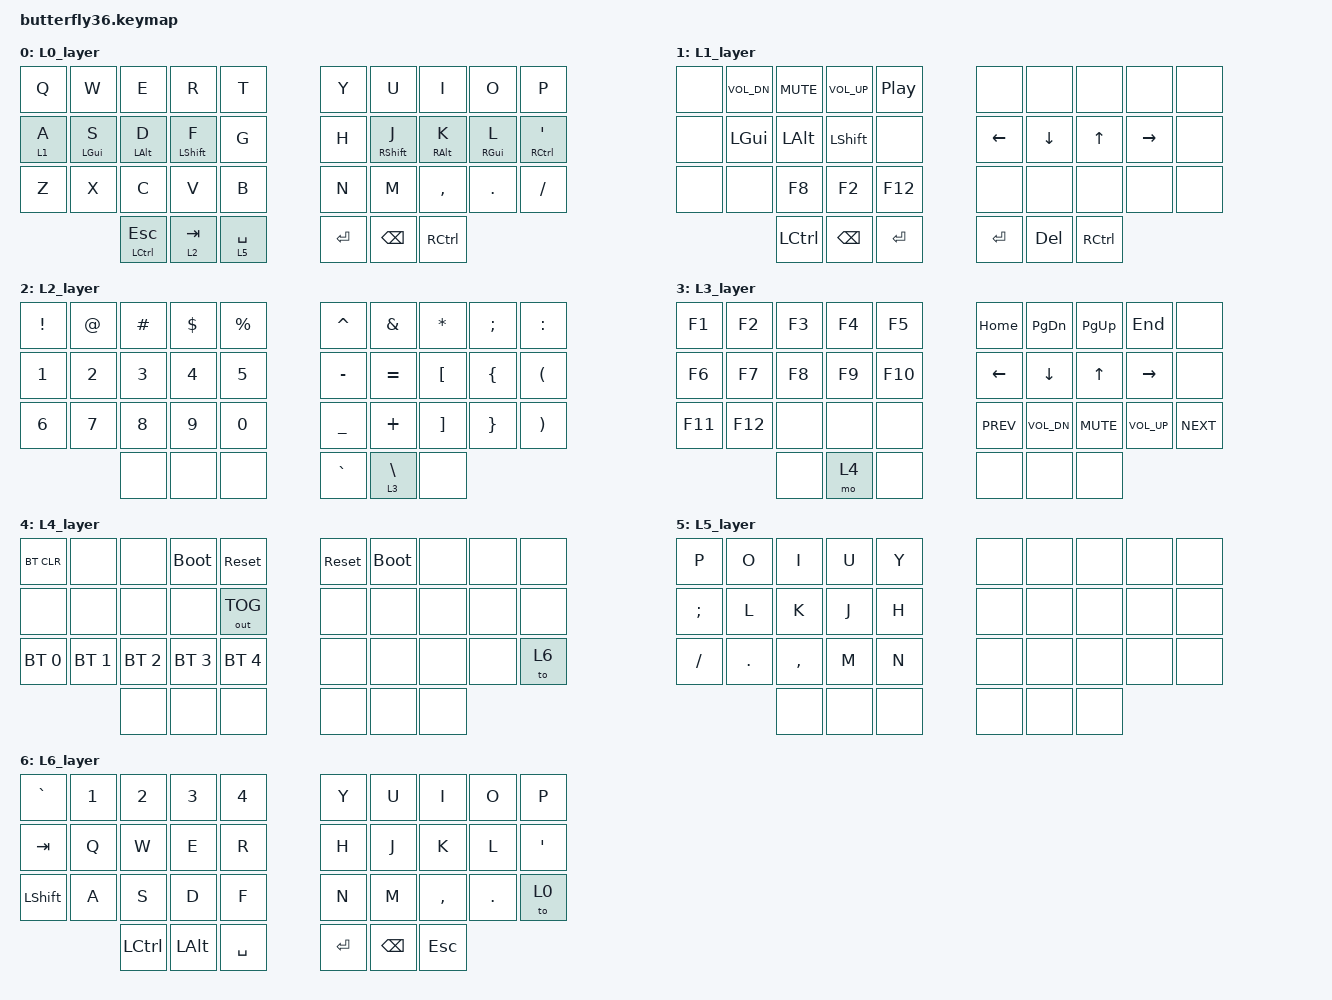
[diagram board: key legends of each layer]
// butterfly36.keymap

#include <behaviors.dtsi>
#include <dt-bindings/zmk/keys.h>
#include <dt-bindings/zmk/bt.h>
#include <dt-bindings/zmk/outputs.h>

&mt {
  flavor = "hold-preferred";
  tapping-term-ms = <175>;
  quick-tap-ms = <175>;
  // retro-tap;
};

&lt {  // layer-tap config
  flavor = "hold-preferred";
  tapping-term-ms = <175>;
  quick-tap-ms = <175>;
  // retro-tap;
};

/ {
  behaviors {
    bmt: balanced_mod_tap {
      compatible = "zmk,behavior-hold-tap";
      #binding-cells = <2>;
      flavor = "balanced";
      tapping-term-ms = <200>;    // <---[[moderate duration]]
      quick-tap-ms = <200>;
      bindings = <&kp>, <&kp>;
    };

    blt: balanced_layer_tap {
      compatible = "zmk,behavior-hold-tap";
      #binding-cells = <2>;
      flavor = "balanced";
      tapping-term-ms = <200>;    // <---[[moderate duration]]
      quick-tap-ms = <200>;
      bindings = <&mo>, <&kp>;
    };

    tmt: tap_preferred_mod_tap {
      compatible = "zmk,behavior-hold-tap";
      #binding-cells = <2>;
      flavor = "tap-preferred";
      //retro-tap;
      tapping-term-ms = <175>;    // <---[[moderate duration]]
      quick-tap-ms = <175>;
      require-prior-idle-ms = <125>;
      bindings = <&kp>, <&kp>;
    };

    tlt: tap_preferred_layer_tap {
      compatible = "zmk,behavior-hold-tap";
      #binding-cells = <2>;
      flavor = "tap-preferred";
      //retro-tap;
      tapping-term-ms = <175>;    // <---[[moderate duration]]
      quick-tap-ms = <175>;
      require-prior-idle-ms = <125>;
      bindings = <&mo>, <&kp>;
    };
  };

  keymap {
    compatible = "zmk,keymap";

    L0_layer {
      bindings = <
        &kp Q     &kp W         &kp E         &kp R         &kp T           &kp Y     &kp U         &kp I         &kp O          &kp P
        &tlt 1 A  &tmt LGUI S   &tmt LALT D   &tmt LSHFT F  &kp G           &kp H     &tmt RSHFT J  &tmt RALT K   &tmt RGUI L    &tmt RCTRL SQT
        &kp Z     &kp X         &kp C         &kp V         &kp B           &kp N     &kp M         &kp COMMA     &kp DOT        &kp FSLH
                                &mt LCTRL ESC &lt 2 TAB     &lt 5 SPACE     &kp RET   &kp BSPC      &kp RCTRL
      >;
    };
    
    L1_layer {
      bindings = <
        &none     &kp C_VOL_DN  &kp C_MUTE    &kp C_VOL_UP  &kp C_PP        &none       &none       &none      &none       &none
        &none     &kp LGUI      &kp LALT      &kp LSHFT     &none           &kp LEFT    &kp DOWN    &kp UP     &kp RIGHT   &none
        &none     &none         &kp F8        &kp F2        &kp F12         &none       &none       &none      &none       &none
                                &kp LCTRL     &kp BSPC      &kp RET         &kp RET     &kp DEL    &kp RCTRL
      >;
    };

    L2_layer {
      bindings = <
        &kp EXCL  &kp AT    &kp HASH    &kp DLLR    &kp PRCNT       &kp CARET   &kp AMPS    &kp STAR    &kp SEMI  &kp COLON
        &kp N1    &kp N2    &kp N3      &kp N4      &kp N5          &kp MINUS   &kp EQUAL   &kp LBKT    &kp LBRC  &kp LPAR
        &kp N6    &kp N7    &kp N8      &kp N9      &kp N0          &kp UNDER   &kp PLUS    &kp RBKT    &kp RBRC  &kp RPAR
                            &none       &none       &none           &kp GRAVE   &lt 3 BSLH  &none
      >;
    };

    L3_layer {
      bindings = <
        &kp F1    &kp F2    &kp F3    &kp F4    &kp F5       &kp HOME     &kp PG_DN     &kp PG_UP    &kp END        &none
        &kp F6    &kp F7    &kp F8    &kp F9    &kp F10      &kp LEFT     &kp DOWN      &kp UP       &kp RIGHT      &none
        &kp F11   &kp F12   &none     &none     &none        &kp C_PREV   &kp C_VOL_DN  &kp C_MUTE   &kp C_VOL_UP   &kp C_NEXT
                            &none     &mo 4     &none        &none        &none         &none
      >;
    };

    L4_layer {
            // -----------------------------------------------------------------------------------------
      // |BTCLR|     |     | BOOT|RESET|   |RESET| BOOT|     |     |     |
      // |     |     |     |     | OUT |   |     |     |     |     |     |
      // | BT1 | BT2 | BT3 | BT4 | BT5 |   |     |     |     |     |     |
      //             |     |     |     |   |     |     |     |
      bindings = <
        &bt BT_CLR    &none         &none         &bootloader   &sys_reset          &sys_reset  &bootloader  &none  &none  &none
        &none         &none         &none         &none         &out OUT_TOG        &none       &none        &none  &none  &none
        &bt BT_SEL 0  &bt BT_SEL 1  &bt BT_SEL 2  &bt BT_SEL 3  &bt BT_SEL 4        &none       &none        &none  &none  &to 6
                                    &none         &none         &none               &none       &none        &none
      >;
    };

    L5_layer {
      bindings = <
        &kp P     &kp O     &kp I       &kp U   &kp Y         &none   &none   &none   &none   &none
        &kp SEMI  &kp L     &kp K       &kp J   &kp H         &none   &none   &none   &none   &none
        &kp FSLH  &kp DOT   &kp COMMA   &kp M   &kp N         &none   &none   &none   &none   &none
                            &none       &none   &none         &none   &none   &none
      >;
    };

    L6_layer {
      bindings = <
        &kp GRAVE   &kp N1   &kp N2     &kp N3    &kp N4         &kp Y     &kp U      &kp I       &kp O     &kp P
        &kp TAB     &kp Q    &kp W      &kp E     &kp R          &kp H     &kp J      &kp K       &kp L     &kp SQT
        &kp LSHFT   &kp A    &kp S      &kp D     &kp F          &kp N     &kp M      &kp COMMA   &kp DOT   &to 0
                             &kp LCTRL  &kp LALT  &kp SPACE      &kp RET   &kp BSPC   &kp ESC
      >;
    };
  };
};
